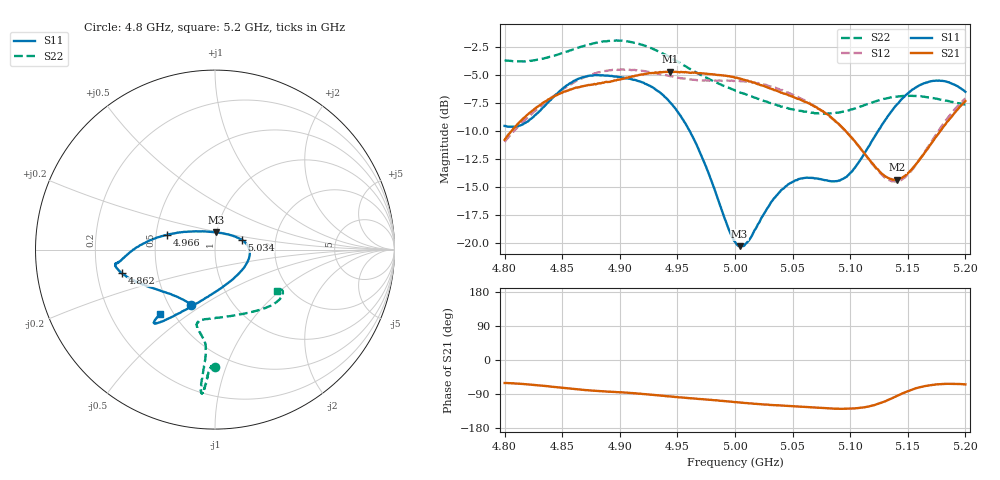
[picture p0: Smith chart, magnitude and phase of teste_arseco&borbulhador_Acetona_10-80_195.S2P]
! Network Analyzer HP8722D
! Hewlett-Packard
! Data name: Linha & Wilkinson
! Saver's name: Rodrigo Anjos
! Comments: Teste da utilização de aquisição
! continua pelo VNA HP8722D
! Time and date: 17/4/2025 15:59
!  Frequency  S11  S21  S12  S22
# HZ  S  MA R 50
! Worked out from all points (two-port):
!   401 points, 4.8 GHz to 5.2 GHz, reference 50 ohm
!   highest |S21| = -4.67 dB at 4.944 GHz (marker M1); lowest = -14.4 dB at 5.141 GHz (marker M2)
!   |S21| within 3 dB of the highest: 4.831 GHz to 5.067 GHz (236.3 MHz wide, 4.77 % of centre); 5.196656 GHz to end of sweep
!   lowest |S11| = -20.3 dB at 5.004 GHz (marker M3), VSWR 1.21, Z = 49.5 + j9.63 ohm
!   |S11| at or under -10 dB: 4.961 GHz to 5.124 GHz (163.5 MHz wide, 3.24 % of centre)
!   |S22| runs from -8.5 to -1.9 dB; largest |S21 - S12| = 0.87
!   S11 on the Smith chart (normalised r, x): 4.8 GHz: 0.65, -0.44; 4.862 GHz: 0.31, -0.11; 4.966 GHz: 0.57, +0.10; 5.034 GHz: 1.34, +0.15; 5.2 GHz: 0.42, -0.39
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4.8e9  0.3333 -113.4  0.2888 -60.8  0.2828 -175.0  0.6555 -90.0
4.819e9  0.347 -133.4  0.3712 -64.0  0.3593 -173.7  0.6502 -91.6
4.862e9  0.5357 -165.8  0.4952 -77.2  0.5291 -177.0  0.7427 -93.8
4.867e9  0.5486 -167.8  0.5009 -78.7  0.5435 -177.9  0.7565 -94.0
4.9e9  0.5512 -172.2  0.5375 -85.1  0.5954 175.5  0.8021 -95.3
4.934e9  0.4746 -178.2  0.5791 -93.4  0.5717 171.8  0.7164 -95.8
4.944e9  0.4235 177.2  0.5841 -96.3  0.5557 172.0  0.6752 -95.4
4.966e9  0.2792 162.8  0.5767 -101.9  0.5356 173.8  0.5795 -95.0
5e9  0.1009 101.3  0.5486 -111.2  0.5318 176.2  0.4799 -99.2
5.004e9  0.09644 87.5  0.5437 -112.1  0.5299 176.3  0.4721 -100.0
5.012e9  0.1022 60.5  0.528 -114.4  0.5253 175.8  0.4569 -101.7
5.034e9  0.1582 20.4  0.4822 -119.1  0.4948 174.8  0.4169 -103.5
5.05e9  0.1873 4.1  0.4521 -121.9  0.4599 174.1  0.3955 -99.4
5.067e9  0.1953 -14.0  0.4137 -124.8  0.4149 173.8  0.3817 -90.6
5.086e9  0.1882 -44.2  0.3551 -128.4  0.3542 173.9  0.3801 -76.3
5.097e9  0.1973 -66.6  0.3119 -128.8  0.3119 174.6  0.3892 -67.2
5.134e9  0.3765 -116.5  0.1937 -104.0  0.1904 -157.1  0.4457 -42.9
5.141e9  0.4182 -120.4  0.1912 -94.2  0.1884 -146.0  0.4518 -39.9
5.153e9  0.4802 -125.3  0.212 -78.9  0.2096 -128.1  0.4545 -35.7
5.17e9  0.5284 -128.9  0.2761 -66.3  0.2816 -112.3  0.4461 -32.0
5.184e9  0.5255 -130.2  0.3472 -63.0  0.3582 -107.2  0.4322 -31.1
5.2e9  0.4737 -130.6  0.4309 -64.4  0.4432 -106.4  0.4152 -33.4
